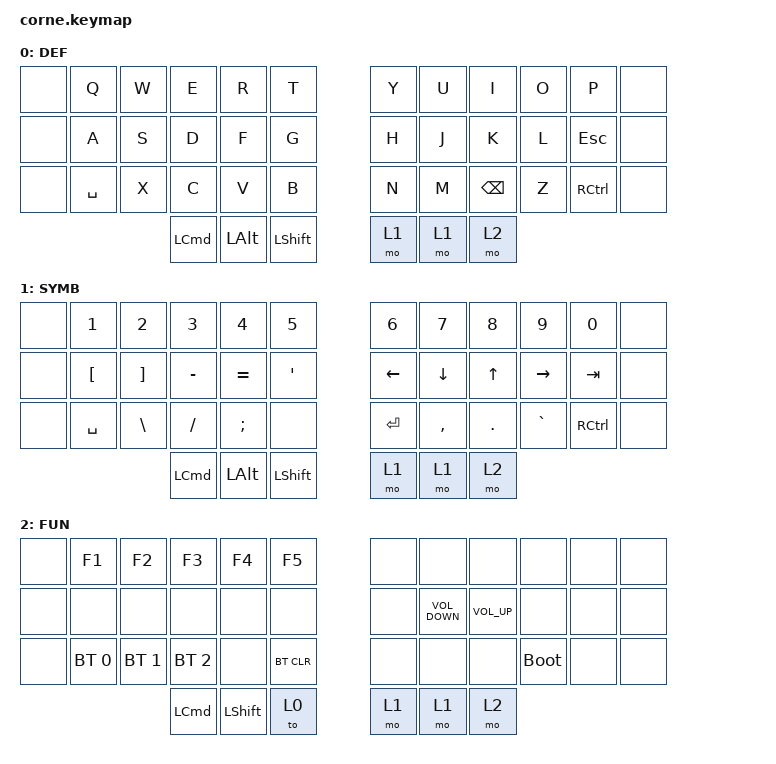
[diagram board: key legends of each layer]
/*
 * Copyright (c) 2020 The ZMK Contributors
 *
 * SPDX-License-Identifier: MIT
 */

#include <behaviors.dtsi>
#include <dt-bindings/zmk/bt.h>
#include <dt-bindings/zmk/keys.h>

#define DEFAULT_L 0
#define SYMBOLS_L 1
#define ARROWS_L  2
#define NUMBERS_L 3

/ {
    behaviors {
        hm: homerow_mods {
            compatible = "zmk,behavior-hold-tap";
            label = "HOMEROW_MODS";
            #binding-cells = <2>;
            tapping-term-ms = <300>;
            quick-tap-ms = <200>;
            flavor = "tap-preferred";
            bindings = <&kp>, <&kp>;
        };
    };

    combos {
        compatible = "zmk,combos";

        comb_l_ctrl {
            bindings = <&kp LCTRL>;
            key-positions = <4 5>;
        };

        comb_r_bksp {
            bindings = <&kp BACKSPACE>;
            key-positions = <6 7>;
        };
    };

    keymap {
        compatible = "zmk,keymap";

        default_layer {
            label = "DEF";
            bindings = <
&none  &kp Q      &kp W  &kp E     &kp R         &kp T             &kp Y  &kp U  &kp I          &kp O  &kp P       &none
&none  &kp A      &kp S  &kp D     &kp F         &kp G             &kp H  &kp J  &kp K          &kp L  &kp ESCAPE  &none
&none  &kp SPACE  &kp X  &kp C     &kp V         &kp B             &kp N  &kp M  &kp BACKSPACE  &kp Z  &kp RCTRL   &none
                         &kp LCMD  &kp LEFT_ALT  &kp LEFT_SHIFT    &mo 1  &mo 1  &mo 2
            >;
        };

        symbols_layer {
            label = "SYMB";
            bindings = <
&none  &kp NUMBER_1      &kp NUMBER_2       &kp NUMBER_3  &kp NUMBER_4   &kp NUMBER_5    &kp NUMBER_6    &kp N7          &kp NUMBER_8  &kp NUMBER_9     &kp NUMBER_0  &none
&none  &kp LEFT_BRACKET  &kp RIGHT_BRACKET  &kp MINUS     &kp EQUAL      &kp SQT         &kp LEFT_ARROW  &kp DOWN_ARROW  &kp UP_ARROW  &kp RIGHT_ARROW  &kp TAB       &none
&none  &kp SPACE         &kp BACKSLASH      &kp SLASH     &kp SEMICOLON  &none           &kp RETURN      &kp COMMA       &kp PERIOD    &kp GRAVE        &kp RCTRL     &none
                                            &kp LCMD      &kp LEFT_ALT   &kp LSHIFT      &mo 1           &mo 1           &mo 2
            >;
        };

        function_layer {
            label = "FUN";
            bindings = <
&none  &kp F1        &kp F2        &kp F3        &kp F4     &kp F5        &none  &none              &none            &none        &none  &none
&none  &none         &none         &none         &none      &none         &none  &kp C_VOLUME_DOWN  &kp C_VOLUME_UP  &none        &none  &none
&none  &bt BT_SEL 0  &bt BT_SEL 1  &bt BT_SEL 2  &none      &bt BT_CLR    &none  &none              &none            &bootloader  &none  &none
                                   &kp LCMD      &kp LSHFT  &to 0         &mo 1  &mo 1              &mo 2
            >;
        };
    };
};
